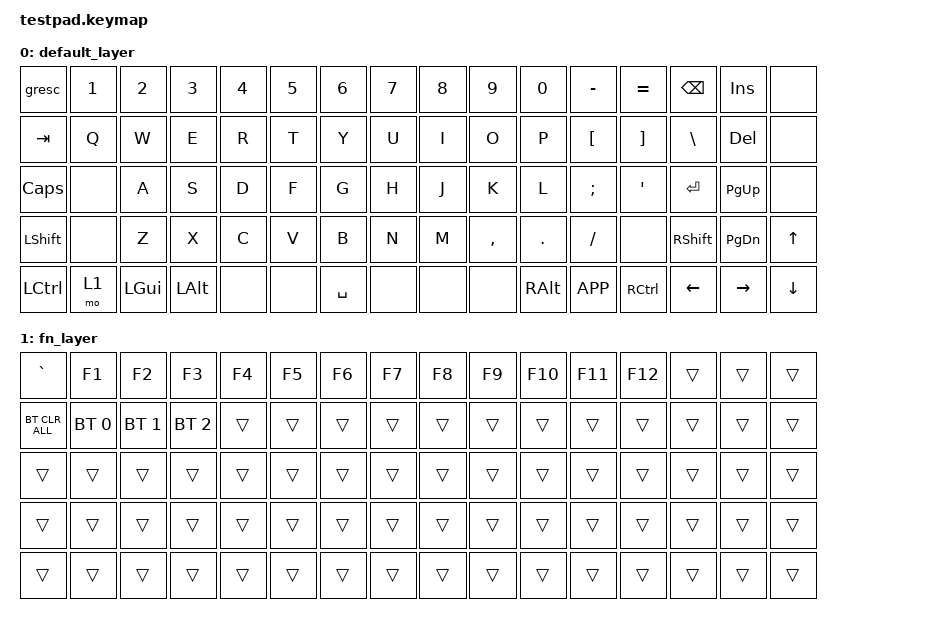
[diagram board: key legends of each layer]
#include <behaviors.dtsi>
#include <dt-bindings/zmk/keys.h>
#include <dt-bindings/zmk/bt.h>

/ {
    keymap {
        compatible = "zmk,keymap";

        // LAYER 0: Base Layout
        default_layer {
            bindings = <
            // Col 1     Col 2     Col 3      Col 4     Col 5     Col 6     Col 7     Col 8     Col 9     Col 10    Col 11    Col 12    Col 13    Col 14    Col 15    Col 16
            &gresc    &kp N1    &kp N2     &kp N3    &kp N4    &kp N5    &kp N6    &kp N7    &kp N8    &kp N9    &kp N0    &kp MINUS &kp EQUAL &kp BSPC  &kp INS   &none     // Row 1
            &kp TAB   &kp Q     &kp W      &kp E     &kp R     &kp T     &kp Y     &kp U     &kp I     &kp O     &kp P     &kp LBKT  &kp RBKT  &kp BSLH  &kp DEL   &none     // Row 2
            &kp CAPS  &none     &kp A      &kp S     &kp D     &kp F     &kp G     &kp H     &kp J     &kp K     &kp L     &kp SEMI  &kp SQT   &kp RET   &kp PG_UP &none     // Row 3
            &kp LSHFT &none     &kp Z      &kp X     &kp C     &kp V     &kp B     &kp N     &kp M     &kp COMMA &kp DOT   &kp FSLH  &none     &kp RSHFT &kp PG_DN &kp UP    // Row 4
            &kp LCTRL &mo 1     &kp LGUI   &kp LALT  &none     &none     &kp SPACE &none     &none     &none     &kp RALT  &kp K_APP &kp RCTRL &kp LEFT  &kp RIGHT &kp DOWN  // Row 5
            >;
        };

        // LAYER 1: FN & Bluetooth (Activated by holding 'mo 1' on Row 5, Col 2)
        fn_layer {
            bindings = <
            // Col 1         Col 2        Col 3        Col 4        Col 5      Col 6     Col 7     Col 8     Col 9     Col 10    Col 11    Col 12    Col 13    Col 14    Col 15    Col 16
            &kp GRAVE      &kp F1       &kp F2       &kp F3       &kp F4     &kp F5    &kp F6    &kp F7    &kp F8    &kp F9    &kp F10   &kp F11   &kp F12   &trans    &trans    &trans    // Row 1
            &bt BT_CLR_ALL &bt BT_SEL 0 &bt BT_SEL 1 &bt BT_SEL 2 &trans     &trans    &trans    &trans    &trans    &trans    &trans    &trans    &trans    &trans    &trans    &trans    // Row 2
            &trans         &trans       &trans       &trans       &trans     &trans    &trans    &trans    &trans    &trans    &trans    &trans    &trans    &trans    &trans    &trans    // Row 3
            &trans         &trans       &trans       &trans       &trans     &trans    &trans    &trans    &trans    &trans    &trans    &trans    &trans    &trans    &trans    &trans    // Row 4
            &trans         &trans       &trans       &trans       &trans     &trans    &trans    &trans    &trans    &trans    &trans    &trans    &trans    &trans    &trans    &trans    // Row 5
            >;
        };
    };
};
